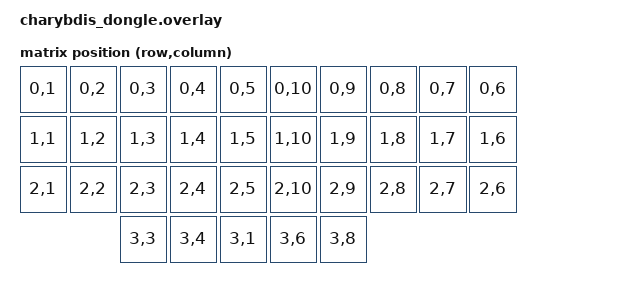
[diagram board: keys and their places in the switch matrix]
#include "charybdis.dtsi"

&charybdis_5col_layout {
    transform = <&default_transform>;
};

/ {
    chosen {
        zmk,kscan = &mock_kscan;
        zmk,physical-layout = &charybdis_5col_layout;
        zephyr,display = &oled;
    };

    mock_kscan: kscan_1 {
        compatible = "zmk,kscan-mock";
        columns = <0>;
        rows = <0>;
        events = <0>;
    };

    default_transform: keymap_transform_0 {
        compatible = "zmk,matrix-transform";
        columns = <10>;
        rows = <4>;

        map = <
    RC(0,1) RC(0,2) RC(0,3) RC(0,4) RC(0,5)  RC(0,10) RC(0,9) RC(0,8) RC(0,7) RC(0,6)
    RC(1,1) RC(1,2) RC(1,3) RC(1,4) RC(1,5)  RC(1,10) RC(1,9) RC(1,8) RC(1,7) RC(1,6)
    RC(2,1) RC(2,2) RC(2,3) RC(2,4) RC(2,5)  RC(2,10) RC(2,9) RC(2,8) RC(2,7) RC(2,6)
                    RC(3,3) RC(3,4) RC(3,1)  RC(3,6)  RC(3,8)
        >;
    };
};

&pro_micro_i2c {
    status = "okay";
    
    oled: ssd1306@3c {
        compatible = "solomon,ssd1306fb";
        reg = <0x3c>;
        width = <128>;
        height = <64>;
        segment-offset = <0>;
        page-offset = <0>;
        display-offset = <0>;
        multiplex-ratio = <63>;
        segment-remap;
        com-invdir;
        inversion-on;
        prechargep = <0x22>;
    };
}; 
